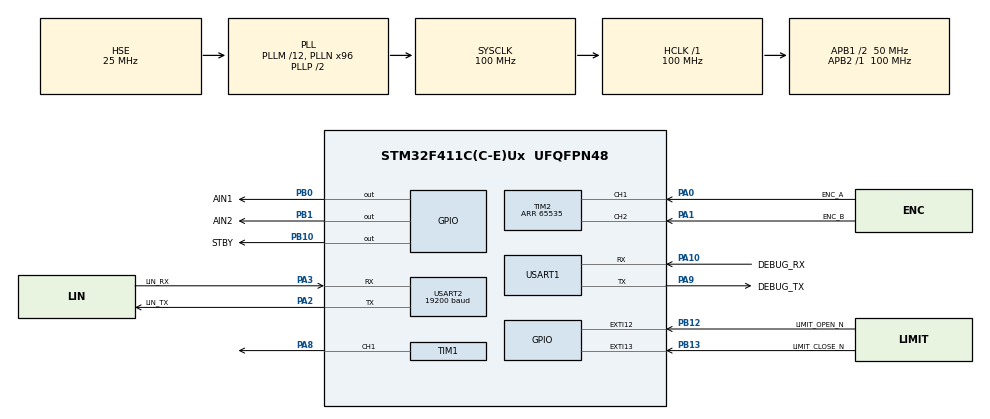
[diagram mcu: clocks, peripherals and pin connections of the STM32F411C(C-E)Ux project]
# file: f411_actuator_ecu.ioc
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FREERTOS.Tasks01=ControlTask,32,512,StartControlTask,Default,NULL,Dynamic,NULL,NULL;SafetyTask,40,256,StartSafetyTask,Default,NULL,Dynamic,NULL,NULL
FREERTOS.configCHECK_FOR_STACK_OVERFLOW=2
FREERTOS.configTOTAL_HEAP_SIZE=32768
FREERTOS.configUSE_MALLOC_FAILED_HOOK=1
Mcu.Family=STM32F4
Mcu.Name=STM32F411C(C-E)Ux
Mcu.Package=UFQFPN48
NVIC.EXTI15_10_IRQn=true\:5\:0\:true\:false\:true\:true\:true\:true\:true
NVIC.PriorityGroup=NVIC_PRIORITYGROUP_4
NVIC.TIM3_IRQn=true\:15\:0\:false\:false\:true\:false\:false\:true\:true
NVIC.TimeBase=TIM3_IRQn
NVIC.TimeBaseIP=TIM3
NVIC.USART2_IRQn=true\:5\:0\:true\:false\:true\:true\:true\:true\:true
PA0-WKUP.GPIO_Label=ENC_A
PA0-WKUP.Signal=S_TIM2_CH1_ETR
PA1.GPIO_Label=ENC_B
PA1.Signal=S_TIM2_CH2
PA10.GPIO_Label=DEBUG_RX
PA10.Mode=Asynchronous
PA10.Signal=USART1_RX
PA13.Mode=Serial_Wire
PA13.Signal=SYS_JTMS-SWDIO
PA14.Mode=Serial_Wire
PA14.Signal=SYS_JTCK-SWCLK
PA2.GPIO_Label=LIN_TX
PA2.Mode=LIN
PA2.Signal=USART2_TX
PA3.GPIO_Label=LIN_RX
PA3.Mode=LIN
PA3.Signal=USART2_RX
PA8.Signal=S_TIM1_CH1
PA9.GPIO_Label=DEBUG_TX
PA9.Mode=Asynchronous
PA9.Signal=USART1_TX
PB0.GPIO_Label=AIN1
PB0.GPIO_Speed=GPIO_SPEED_FREQ_HIGH
PB0.Signal=GPIO_Output
PB1.GPIO_Label=AIN2
PB1.GPIO_Speed=GPIO_SPEED_FREQ_HIGH
PB1.Signal=GPIO_Output
PB10.GPIO_Label=STBY
PB10.GPIO_Speed=GPIO_SPEED_FREQ_HIGH
PB10.Signal=GPIO_Output
PB12.GPIO_Label=LIMIT_OPEN_N
PB12.GPIO_ModeDefaultEXTI=GPIO_MODE_IT_FALLING
PB12.GPIO_PuPd=GPIO_PULLUP
PB12.Signal=GPXTI12
PB13.GPIO_Label=LIMIT_CLOSE_N
PB13.GPIO_ModeDefaultEXTI=GPIO_MODE_IT_FALLING
PB13.GPIO_PuPd=GPIO_PULLUP
PB13.Signal=GPXTI13
PH0\ -\ OSC_IN.Mode=HSE-External-Oscillator
PH0\ -\ OSC_IN.Signal=RCC_OSC_IN
PH1\ -\ OSC_OUT.Mode=HSE-External-Oscillator
PH1\ -\ OSC_OUT.Signal=RCC_OSC_OUT
ProjectManager.HeapSize=0x200
ProjectManager.StackSize=0x400
ProjectManager.TargetToolchain=MDK-ARM V5.32
RCC.48MHZClocksFreq_Value=50000000
RCC.AHBFreq_Value=100000000
RCC.APB1CLKDivider=RCC_HCLK_DIV2
RCC.APB1Freq_Value=50000000
RCC.APB1TimFreq_Value=100000000
RCC.APB2Freq_Value=100000000
RCC.APB2TimFreq_Value=100000000
RCC.CortexFreq_Value=100000000
RCC.HCLKFreq_Value=100000000
RCC.HSE_VALUE=25000000
RCC.HSI_VALUE=16000000
RCC.PLLM=12
RCC.PLLN=96
RCC.PLLSourceVirtual=RCC_PLLSOURCE_HSE
RCC.SYSCLKFreq_VALUE=100000000
RCC.SYSCLKSource=RCC_SYSCLKSOURCE_PLLCLK
RCC.VCOOutputFreq_Value=200000000
SH.S_TIM1_CH1.0=TIM1_CH1,PWM Generation1 CH1
SH.S_TIM2_CH1_ETR.0=TIM2_CH1,Encoder_Interface
SH.S_TIM2_CH2.0=TIM2_CH2,Encoder_Interface
TIM1.Channel-PWM\ Generation1\ CH1=TIM_CHANNEL_1
TIM1.Period=999
TIM1.Prescaler=4
TIM1.Pulse-PWM\ Generation1\ CH1=200
TIM2.EncoderMode=TIM_ENCODERMODE_TI12
TIM2.IC1Filter=4
TIM2.IC2Filter=4
TIM2.Period=65535
USART1.VirtualMode=VM_ASYNC
USART2.BaudRate=19200
USART2.VirtualMode=VM_ASYNC
VP_FREERTOS_VS_CMSIS_V2.Mode=CMSIS_V2
VP_SYS_VS_tim3.Mode=TIM3
board=custom

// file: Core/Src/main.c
/* USER CODE BEGIN Header */
/**
  ******************************************************************************
  * @file           : main.c
  * @brief          : Main program body
  ******************************************************************************
  * @attention
  *
  * Copyright (c) 2026 STMicroelectronics.
  * All rights reserved.
  *
  * This software is licensed under terms that can be found in the LICENSE file
  * in the root directory of this software component.
  * If no LICENSE file comes with this software, it is provided AS-IS.
  *
  ******************************************************************************
  */
/* USER CODE END Header */
#include "main.h"
#include "cmsis_os.h"
#include "tim.h"
#include "usart.h"
#include "gpio.h"

void SystemClock_Config(void);
void MX_FREERTOS_Init(void);

int main(void)
{

  /* MCU Configuration--------------------------------------------------------*/

  /* Reset of all peripherals, Initializes the Flash interface and the Systick. */
  HAL_Init();

  /* Configure the system clock */
  SystemClock_Config();

  /* Initialize all configured peripherals */
  MX_GPIO_Init();
  MX_TIM1_Init();
  MX_TIM2_Init();
  MX_USART1_UART_Init();
  MX_USART2_UART_Init();

  /* Init scheduler */
  osKernelInitialize();  /* Call init function for freertos objects (in cmsis_os2.c) */
  MX_FREERTOS_Init();

  /* Start scheduler */
  osKernelStart();

  /* We should never get here as control is now taken by the scheduler */

  /* Infinite loop */
  while (1)
  {

  }
}

void SystemClock_Config(void)
{
  RCC_OscInitTypeDef RCC_OscInitStruct = {0};
  RCC_ClkInitTypeDef RCC_ClkInitStruct = {0};

  /** Configure the main internal regulator output voltage
  */
  __HAL_RCC_PWR_CLK_ENABLE();
  __HAL_PWR_VOLTAGESCALING_CONFIG(PWR_REGULATOR_VOLTAGE_SCALE1);

  /** Initializes the RCC Oscillators according to the specified parameters
  * in the RCC_OscInitTypeDef structure.
  */
  RCC_OscInitStruct.OscillatorType = RCC_OSCILLATORTYPE_HSE;
  RCC_OscInitStruct.HSEState = RCC_HSE_ON;
  RCC_OscInitStruct.PLL.PLLState = RCC_PLL_ON;
  RCC_OscInitStruct.PLL.PLLSource = RCC_PLLSOURCE_HSE;
  RCC_OscInitStruct.PLL.PLLM = 12;
  RCC_OscInitStruct.PLL.PLLN = 96;
  RCC_OscInitStruct.PLL.PLLP = RCC_PLLP_DIV2;
  RCC_OscInitStruct.PLL.PLLQ = 4;
  if (HAL_RCC_OscConfig(&RCC_OscInitStruct) != HAL_OK)
  {
    Error_Handler();
  }

  /** Initializes the CPU, AHB and APB buses clocks
  */
  RCC_ClkInitStruct.ClockType = RCC_CLOCKTYPE_HCLK|RCC_CLOCKTYPE_SYSCLK
                              |RCC_CLOCKTYPE_PCLK1|RCC_CLOCKTYPE_PCLK2;
  RCC_ClkInitStruct.SYSCLKSource = RCC_SYSCLKSOURCE_PLLCLK;
  RCC_ClkInitStruct.AHBCLKDivider = RCC_SYSCLK_DIV1;
  RCC_ClkInitStruct.APB1CLKDivider = RCC_HCLK_DIV2;
  RCC_ClkInitStruct.APB2CLKDivider = RCC_HCLK_DIV1;

  if (HAL_RCC_ClockConfig(&RCC_ClkInitStruct, FLASH_LATENCY_3) != HAL_OK)
  {
    Error_Handler();
  }
}

void HAL_TIM_PeriodElapsedCallback(TIM_HandleTypeDef *htim)
{
  if (htim->Instance == TIM3)
  {
    HAL_IncTick();
  }
}

void Error_Handler(void)
{
  __disable_irq();
  while (1)
  {
  }
}

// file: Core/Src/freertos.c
/* USER CODE BEGIN Header */
/**
  ******************************************************************************
  * File Name          : freertos.c
  * Description        : Code for freertos applications
  ******************************************************************************
  * @attention
  *
  * Copyright (c) 2026 STMicroelectronics.
  * All rights reserved.
  *
  * This software is licensed under terms that can be found in the LICENSE file
  * in the root directory of this software component.
  * If no LICENSE file comes with this software, it is provided AS-IS.
  *
  ******************************************************************************
  */
/* USER CODE END Header */

#include "FreeRTOS.h"
#include "task.h"
#include "main.h"
#include "cmsis_os.h"

/* USER CODE BEGIN Includes */
#include "tim.h"
#include "motor_driver.h"
#include "motor_port_stm32.h"

#include "encoder_driver.h"
#include "encoder_port_stm32.h"

#include "limit_driver.h"
#include "limit_port_stm32.h"

#include "usart.h"
/* USER CODE END Includes */

/* USER CODE BEGIN Variables */
MotorHandle_t g_motor;

static EncoderHandle_t g_encoder;
static EncoderSnapshot_t g_encoder_snapshot;

static LimitHandle_t g_limit;
static LimitSnapshot_t g_limit_snapshot;
/* USER CODE END Variables */
/* Definitions for ControlTask */
osThreadId_t ControlTaskHandle;
const osThreadAttr_t ControlTask_attributes = {
  .name = "ControlTask",
  .stack_size = 512 * 4,
  .priority = (osPriority_t) osPriorityAboveNormal,
};
/* Definitions for SafetyTask */
osThreadId_t SafetyTaskHandle;
const osThreadAttr_t SafetyTask_attributes = {
  .name = "SafetyTask",
  .stack_size = 256 * 4,
  .priority = (osPriority_t) osPriorityHigh,
};

void StartControlTask(void *argument);
void StartSafetyTask(void *argument);

void MX_FREERTOS_Init(void); /* (MISRA C 2004 rule 8.1) */

/* Hook prototypes */
void vApplicationStackOverflowHook(xTaskHandle xTask, signed char *pcTaskName);
void vApplicationMallocFailedHook(void);

/* USER CODE BEGIN 4 */
void vApplicationStackOverflowHook(xTaskHandle xTask, signed char *pcTaskName)
{
   /* Run time stack overflow checking is performed if
   configCHECK_FOR_STACK_OVERFLOW is defined to 1 or 2. This hook function is
   called if a stack overflow is detected. */
    (void)xTask;
    (void)pcTaskName;

    /* 最后一道安全动作：PWM=0，TB6612 失能 */
    __HAL_TIM_SET_COMPARE(&htim1, TIM_CHANNEL_1, 0U);
    HAL_GPIO_WritePin(STBY_GPIO_Port, STBY_Pin, GPIO_PIN_RESET);
    /*屏蔽掉可屏蔽的中断*/
    taskDISABLE_INTERRUPTS();
    for (;;)//此时的for就不是任务了，不会进入时间片，他只是死循环
    {
    }
}
/* USER CODE END 4 */

/* USER CODE BEGIN 5 */
void vApplicationMallocFailedHook(void)
{
   /* vApplicationMallocFailedHook() will only be called if
   configUSE_MALLOC_FAILED_HOOK is set to 1 in FreeRTOSConfig.h. It is a hook
   function that will get called if a call to pvPortMalloc() fails.
   pvPortMalloc() is called internally by the kernel whenever a task, queue,
   timer or semaphore is created. It is also called by various parts of the
   demo application. If heap_1.c or heap_2.c are used, then the size of the
   heap available to pvPortMalloc() is defined by configTOTAL_HEAP_SIZE in
   FreeRTOSConfig.h, and the xPortGetFreeHeapSize() API function can be used
   to query the size of free heap space that remains (although it does not
   provide information on how the remaining heap might be fragmented). */

    /* 最后一道安全动作：PWM=0，TB6612 失能 */
    __HAL_TIM_SET_COMPARE(&htim1, TIM_CHANNEL_1, 0U);
    HAL_GPIO_WritePin(STBY_GPIO_Port, STBY_Pin, GPIO_PIN_RESET);
  /*屏蔽掉可屏蔽的中断*/
    taskDISABLE_INTERRUPTS();//此时的for就不是任务了，不会进入时间片，他只是死循环
    for (;;)
    {
    }
}
/* USER CODE END 5 */

void MX_FREERTOS_Init(void) {

  /* Create the thread(s) */
  /* creation of ControlTask */
  ControlTaskHandle = osThreadNew(StartControlTask, NULL, &ControlTask_attributes);

  /* creation of SafetyTask */
  SafetyTaskHandle = osThreadNew(StartSafetyTask, NULL, &SafetyTask_attributes);

}

void StartControlTask(void *argument)
{
  /* USER CODE BEGIN StartControlTask */
  (void) argument;
  //uint16_t encoder_test_count = 0U;
  MotorStatus_t ret_status_motor = MOTOR_STATUS_OK;
  EncoderStatus_t ret_status_encoder = ENCODER_STATUS_OK;
  LimitStatus_t ret_status_limit = LIMIT_STATUS_OK;

  static bool limit_state_logged = false;
  static LimitSwitchState_t last_limit_state = LIMIT_STATE_NONE;

  ret_status_limit = Limit_Init(&g_limit,&g_limit_port_stm32_ops,(void *)&g_limit_port_stm32_config);
  if (LIMIT_STATUS_OK != ret_status_limit)
  {
      for (;;)
      {
          osDelay(1000U);
      }
  }
  HAL_UART_Transmit(&huart1,
                  (uint8_t *)"[BOOT] Limit task started\r\n",
                  sizeof("[BOOT] Limit task started\r\n") - 1U,
                  100U);
  ret_status_encoder = Encoder_Init(&g_encoder,&g_encoder_port_stm32_ops,(void*)&g_encoder_port_stm32_config);
  if (ENCODER_STATUS_OK != ret_status_encoder)
  {
      for (;;)
      {
          osDelay(1000U);
      }
  }

  ret_status_motor = Motor_Init(&g_motor,&g_motor_port_stm32_ops,(void*)&g_motor_port_stm32_config);

  if (MOTOR_STATUS_OK != ret_status_motor)
  {
      for (;;)
      {
          osDelay(1000U);
      }
  }

  // Motor_SetDirection(&g_motor,MOTOR_DIR_REVERSE);

  // Motor_SetDuty(&g_motor,30);

  // Motor_Enable(&g_motor);
  /* Infinite loop */
  for(;;)
  {

      // osDelay(10000);

      // Motor_Stop(&g_motor);
      // osDelay(1000);
      // Motor_SetDirection(&g_motor,MOTOR_DIR_REVERSE);
      // Motor_SetDuty(&g_motor,30);

      // osDelay(10000);

      // Motor_Stop(&g_motor);
      // osDelay(1000);
      // Motor_SetDirection(&g_motor,MOTOR_DIR_FORWARD);
      // Motor_SetDuty(&g_motor,30);

    // ret_status_encoder = Encoder_Update(&g_encoder);
    // if (ENCODER_STATUS_OK != ret_status_encoder)
    // {
    //     Motor_Stop(&g_motor);
    //     for (;;)
    //     {
    //         osDelay(1000U);
    //     }
    // }

    // ret_status_encoder = Encoder_GetSnapshot(&g_encoder,&g_encoder_snapshot);
    // if (ENCODER_STATUS_OK != ret_status_encoder)
    // {
    //     Motor_Stop(&g_motor);
    //     for (;;)
    //     {
    //         osDelay(1000U);
    //     }
    // }
    // encoder_test_count++;

    // if (encoder_test_count >= 200U)
    // {
    //     Motor_Stop(&g_motor);

    //     for (;;)
    //     {
    //         osDelay(1000U);
    //     }
    // }
    ret_status_limit = Limit_Update(&g_limit);
    if (LIMIT_STATUS_OK != ret_status_limit)
    {
        for (;;)
        {
            osDelay(1000U);
        }
    }

    ret_status_limit = Limit_GetSnapshot(&g_limit, &g_limit_snapshot);
    if (LIMIT_STATUS_OK != ret_status_limit)
    {
        for (;;)
        {
            osDelay(1000U);
        }
    }

    if ((!limit_state_logged) || (g_limit_snapshot.state != last_limit_state))
    {
        last_limit_state = g_limit_snapshot.state;
        limit_state_logged = true;
        switch (g_limit_snapshot.state)
        {
            case LIMIT_STATE_NONE:
                HAL_UART_Transmit(&huart1, (uint8_t *)"[LIMIT] NONE\r\n",
                                  sizeof("[LIMIT] NONE\r\n") - 1U, 10U);
                break;

            case LIMIT_STATE_OPEN_ACTIVE:
                HAL_UART_Transmit(&huart1, (uint8_t *)"[LIMIT] OPEN_ACTIVE\r\n",
                                  sizeof("[LIMIT] OPEN_ACTIVE\r\n") - 1U, 10U);
                break;

            case LIMIT_STATE_CLOSE_ACTIVE:
                HAL_UART_Transmit(&huart1, (uint8_t *)"[LIMIT] CLOSE_ACTIVE\r\n",
                                  sizeof("[LIMIT] CLOSE_ACTIVE\r\n") - 1U, 10U);
                break;

            case LIMIT_STATE_CONFLICT:
                HAL_UART_Transmit(&huart1, (uint8_t *)"[LIMIT] CONFLICT\r\n",
                                  sizeof("[LIMIT] CONFLICT\r\n") - 1U, 10U);
                break;

            default:
                break;
        }

    }

    osDelay(10U);
  }
  /* USER CODE END StartControlTask */
}

void StartSafetyTask(void *argument)
{
  for(;;)
  {
    osDelay(1);
  }
}
